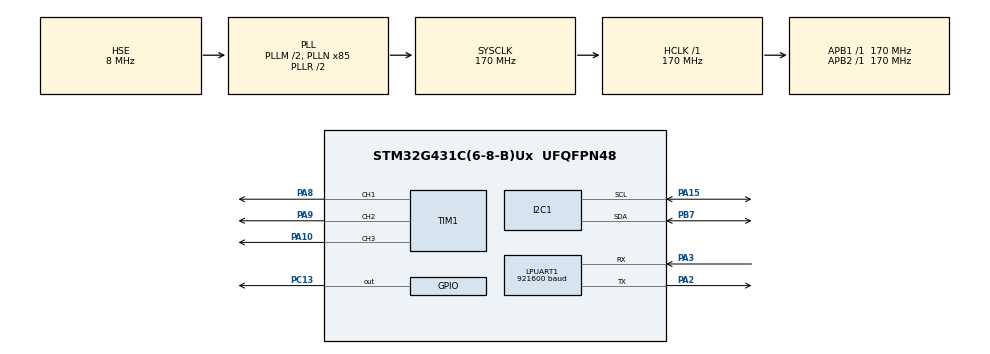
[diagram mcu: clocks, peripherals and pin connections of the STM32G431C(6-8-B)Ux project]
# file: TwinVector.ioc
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I2C1.Timing=0x40B285C2
LPUART1.BaudRate=921600
Mcu.Family=STM32G4
Mcu.Name=STM32G431C(6-8-B)Ux
Mcu.Package=UFQFPN48
NVIC.PriorityGroup=NVIC_PRIORITYGROUP_4
NVIC.TIM1_UP_TIM16_IRQn=true\:0\:0\:false\:false\:true\:true\:true\:true
PA10.Signal=S_TIM1_CH3
PA13.Mode=Serial_Wire
PA13.Signal=SYS_JTMS-SWDIO
PA14.Mode=Serial_Wire
PA14.Signal=SYS_JTCK-SWCLK
PA15.Mode=I2C
PA15.Signal=I2C1_SCL
PA2.Mode=Asynchronous
PA2.Signal=LPUART1_TX
PA3.Mode=Asynchronous
PA3.Signal=LPUART1_RX
PA8.Signal=S_TIM1_CH1
PA9.Signal=S_TIM1_CH2
PB7.Mode=I2C
PB7.Signal=I2C1_SDA
PC13.Signal=GPIO_Output
PF0-OSC_IN.Mode=HSE-External-Oscillator
PF0-OSC_IN.Signal=RCC_OSC_IN
PF1-OSC_OUT.Mode=HSE-External-Oscillator
PF1-OSC_OUT.Signal=RCC_OSC_OUT
ProjectManager.HeapSize=0x200
ProjectManager.StackSize=0x400
ProjectManager.TargetToolchain=CMake
RCC.ADC12Freq_Value=170000000
RCC.AHBFreq_Value=170000000
RCC.APB1Freq_Value=170000000
RCC.APB1TimFreq_Value=170000000
RCC.APB2Freq_Value=170000000
RCC.APB2TimFreq_Value=170000000
RCC.CortexFreq_Value=170000000
RCC.EXTERNAL_CLOCK_VALUE=12288000
RCC.HCLKFreq_Value=170000000
RCC.HSE_VALUE=8000000
RCC.HSI48_VALUE=48000000
RCC.HSI_VALUE=16000000
RCC.LSE_VALUE=32768
RCC.PLLM=RCC_PLLM_DIV2
RCC.PLLN=85
RCC.PLLSourceVirtual=RCC_PLLSOURCE_HSE
RCC.SYSCLKFreq_VALUE=170000000
RCC.SYSCLKSource=RCC_SYSCLKSOURCE_PLLCLK
RCC.USBFreq_Value=170000000
RCC.VCOOutputFreq_Value=340000000
SH.S_TIM1_CH1.0=TIM1_CH1,PWM Generation1 CH1
SH.S_TIM1_CH2.0=TIM1_CH2,PWM Generation2 CH2
SH.S_TIM1_CH3.0=TIM1_CH3,PWM Generation3 CH3
TIM1.Channel-PWM\ Generation1\ CH1=TIM_CHANNEL_1
TIM1.Channel-PWM\ Generation2\ CH2=TIM_CHANNEL_2
TIM1.Channel-PWM\ Generation3\ CH3=TIM_CHANNEL_3
VP_SYS_VS_DBSignals.Mode=DisableDeadBatterySignals
VP_TIM1_VS_ClockSourceINT.Mode=Internal
board=custom

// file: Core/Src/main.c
/* USER CODE BEGIN Header */
/**
  ******************************************************************************
  * @file           : main.c
  * @brief          : Main program body
  ******************************************************************************
  * @attention
  *
  * Copyright (c) 2026 STMicroelectronics.
  * All rights reserved.
  *
  * This software is licensed under terms that can be found in the LICENSE file
  * in the root directory of this software component.
  * If no LICENSE file comes with this software, it is provided AS-IS.
  *
  ******************************************************************************
  */
/* USER CODE END Header */
#include "main.h"
#include "i2c.h"
#include "usart.h"
#include "tim.h"
#include "gpio.h"

/* USER CODE BEGIN Includes */
#include "as5600.h"
#include "drv8313.h"
#include "foc_control.h"
#include "dashboard.h"
#include "globals.h"
/* USER CODE END Includes */

/* USER CODE BEGIN PV */
volatile float encoder_angle_deg = 0.0f;
volatile uint16_t encoder_raw = 0;
volatile float foc_speed_rpm = 0.0f;
volatile float foc_vq_out = 0.0f;
volatile uint8_t foc_running = 0;
volatile float target_speed_rpm = 0.0f;
volatile uint32_t foc_tick_count = 0;
/* USER CODE END PV */

void SystemClock_Config(void);

int main(void)
{

  /* MCU Configuration--------------------------------------------------------*/

  /* Reset of all peripherals, Initializes the Flash interface and the Systick. */
  HAL_Init();

  /* Configure the system clock */
  SystemClock_Config();

  /* Initialize all configured peripherals */
  MX_GPIO_Init();
  MX_I2C1_Init();
  MX_LPUART1_UART_Init();
  MX_TIM1_Init();
  /* USER CODE BEGIN 2 */
  as5600_init();
  drv8313_off();
  foc_init();
  dashboard_init();

  /* 启动 TIM1 三路 PWM（占空比初始 0）+ 使能更新中断（10kHz） */
  HAL_TIM_PWM_Start(&htim1, TIM_CHANNEL_1);
  HAL_TIM_PWM_Start(&htim1, TIM_CHANNEL_2);
  HAL_TIM_PWM_Start(&htim1, TIM_CHANNEL_3);
  HAL_TIM_Base_Start_IT(&htim1);

  /* 目标转速默认 300rpm（改这里或预留上位机指令） */
  foc_set_target(300.0f);
  foc_start();
  /* USER CODE END 2 */

  /* Infinite loop */
  while (1)
  {

    /* USER CODE BEGIN 3 */
    /* 1. 读编码器（I2C 轮询，只能在主循环，禁止进中断） */
    if (as5600_read_raw((uint16_t *)&encoder_raw)) {
        encoder_angle_deg = (float)encoder_raw * 360.0f / 4096.0f;
    }

    /* 2. FOC 非实时部分：测速 + 状态机 */
    foc_update();

    /* 3. 20ms 上报 ESP32 */
    dashboard_update();

    /* 4. LED 心跳：1Hz 翻转（PC13 板载灯） */
    static uint32_t led_ms = 0;
    if (HAL_GetTick() - led_ms >= 500u) {
        led_ms = HAL_GetTick();
        HAL_GPIO_TogglePin(GPIOC, GPIO_PIN_13);
    }
  }
  /* USER CODE END 3 */
}

void SystemClock_Config(void)
{
  RCC_OscInitTypeDef RCC_OscInitStruct = {0};
  RCC_ClkInitTypeDef RCC_ClkInitStruct = {0};

  /** Configure the main internal regulator output voltage
  */
  HAL_PWREx_ControlVoltageScaling(PWR_REGULATOR_VOLTAGE_SCALE1_BOOST);

  /** Initializes the RCC Oscillators according to the specified parameters
  * in the RCC_OscInitTypeDef structure.
  */
  RCC_OscInitStruct.OscillatorType = RCC_OSCILLATORTYPE_HSE;
  RCC_OscInitStruct.HSEState = RCC_HSE_ON;
  RCC_OscInitStruct.PLL.PLLState = RCC_PLL_ON;
  RCC_OscInitStruct.PLL.PLLSource = RCC_PLLSOURCE_HSE;
  RCC_OscInitStruct.PLL.PLLM = RCC_PLLM_DIV2;
  RCC_OscInitStruct.PLL.PLLN = 85;
  RCC_OscInitStruct.PLL.PLLP = RCC_PLLP_DIV2;
  RCC_OscInitStruct.PLL.PLLQ = RCC_PLLQ_DIV2;
  RCC_OscInitStruct.PLL.PLLR = RCC_PLLR_DIV2;
  if (HAL_RCC_OscConfig(&RCC_OscInitStruct) != HAL_OK)
  {
    Error_Handler();
  }

  /** Initializes the CPU, AHB and APB buses clocks
  */
  RCC_ClkInitStruct.ClockType = RCC_CLOCKTYPE_HCLK|RCC_CLOCKTYPE_SYSCLK
                              |RCC_CLOCKTYPE_PCLK1|RCC_CLOCKTYPE_PCLK2;
  RCC_ClkInitStruct.SYSCLKSource = RCC_SYSCLKSOURCE_PLLCLK;
  RCC_ClkInitStruct.AHBCLKDivider = RCC_SYSCLK_DIV1;
  RCC_ClkInitStruct.APB1CLKDivider = RCC_HCLK_DIV1;
  RCC_ClkInitStruct.APB2CLKDivider = RCC_HCLK_DIV1;

  if (HAL_RCC_ClockConfig(&RCC_ClkInitStruct, FLASH_LATENCY_4) != HAL_OK)
  {
    Error_Handler();
  }
}

/* USER CODE BEGIN 4 */
/**
  * @brief TIM1 更新中断回调（10kHz，RCR=1）
  *        FOC 实时控制链：速度 PI → 逆Park → SVPWM → 写占空比
  *        注意：此回调内禁止任何阻塞调用（I2C/printf/HAL_Delay）
  */
void HAL_TIM_PeriodElapsedCallback(TIM_HandleTypeDef *htim)
{
    if (htim->Instance == TIM1) {
        foc_isr();
    }
}
/* USER CODE END 4 */

void Error_Handler(void)
{
  __disable_irq();
  while (1)
  {
  }
}
